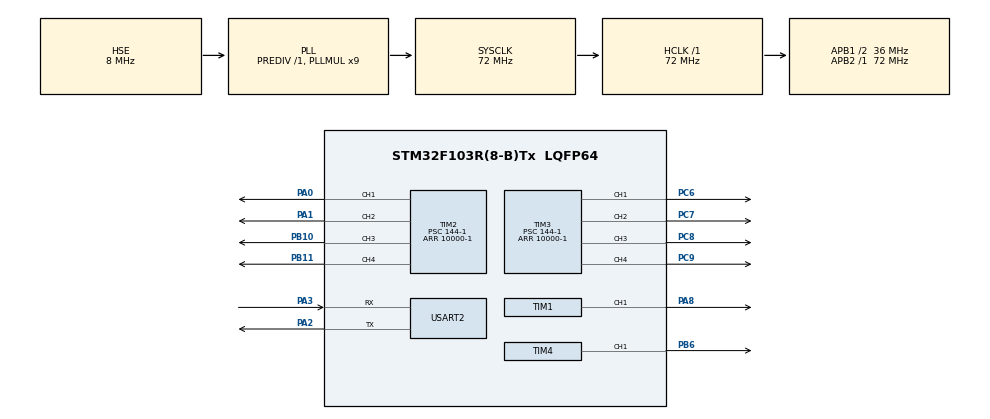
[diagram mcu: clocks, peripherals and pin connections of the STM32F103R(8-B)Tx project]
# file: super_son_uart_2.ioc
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Mcu.Family=STM32F1
Mcu.Name=STM32F103R(8-B)Tx
Mcu.Package=LQFP64
NVIC.PriorityGroup=NVIC_PRIORITYGROUP_4
NVIC.USART2_IRQn=true\:0\:0\:false\:false\:true\:true\:true\:true
PA0-WKUP.Signal=S_TIM2_CH1_ETR
PA1.Signal=S_TIM2_CH2
PA13.Mode=Serial_Wire
PA13.Signal=SYS_JTMS-SWDIO
PA14.Mode=Serial_Wire
PA14.Signal=SYS_JTCK-SWCLK
PA2.Mode=Asynchronous
PA2.Signal=USART2_TX
PA3.Mode=Asynchronous
PA3.Signal=USART2_RX
PA8.Signal=S_TIM1_CH1
PB10.Signal=S_TIM2_CH3
PB11.Signal=S_TIM2_CH4
PB6.Signal=S_TIM4_CH1
PC14-OSC32_IN.Mode=LSE-External-Oscillator
PC14-OSC32_IN.Signal=RCC_OSC32_IN
PC15-OSC32_OUT.Mode=LSE-External-Oscillator
PC15-OSC32_OUT.Signal=RCC_OSC32_OUT
PC6.Signal=S_TIM3_CH1
PC7.Signal=S_TIM3_CH2
PC8.Signal=S_TIM3_CH3
PC9.Signal=S_TIM3_CH4
PD0-OSC_IN.Mode=HSE-External-Clock-Source
PD0-OSC_IN.Signal=RCC_OSC_IN
PD1-OSC_OUT.Mode=HSE-External-Clock-Source
PD1-OSC_OUT.Signal=RCC_OSC_OUT
ProjectManager.HeapSize=0x200
ProjectManager.StackSize=0x400
ProjectManager.TargetToolchain=STM32CubeIDE
RCC.AHBFreq_Value=72000000
RCC.APB1CLKDivider=RCC_HCLK_DIV2
RCC.APB1Freq_Value=36000000
RCC.APB1TimFreq_Value=72000000
RCC.APB2Freq_Value=72000000
RCC.APB2TimFreq_Value=72000000
RCC.HCLKFreq_Value=72000000
RCC.PLLMUL=RCC_PLL_MUL9
RCC.PLLSourceVirtual=RCC_PLLSOURCE_HSE
RCC.SYSCLKFreq_VALUE=72000000
RCC.SYSCLKSource=RCC_SYSCLKSOURCE_PLLCLK
RCC.USBFreq_Value=72000000
SH.S_TIM1_CH1.0=TIM1_CH1,PWM Generation1 CH1
SH.S_TIM2_CH1_ETR.0=TIM2_CH1,PWM Generation1 CH1
SH.S_TIM2_CH2.0=TIM2_CH2,PWM Generation2 CH2
SH.S_TIM2_CH3.0=TIM2_CH3,PWM Generation3 CH3
SH.S_TIM2_CH4.0=TIM2_CH4,PWM Generation4 CH4
SH.S_TIM3_CH1.0=TIM3_CH1,PWM Generation1 CH1
SH.S_TIM3_CH2.0=TIM3_CH2,PWM Generation2 CH2
SH.S_TIM3_CH3.0=TIM3_CH3,PWM Generation3 CH3
SH.S_TIM3_CH4.0=TIM3_CH4,PWM Generation4 CH4
SH.S_TIM4_CH1.0=TIM4_CH1,PWM Generation1 CH1
TIM1.AutoReloadPreload=TIM_AUTORELOAD_PRELOAD_ENABLE
TIM1.Channel-PWM\ Generation1\ CH1=TIM_CHANNEL_1
TIM1.Period=10000-1
TIM1.Prescaler=144-1
TIM2.AutoReloadPreload=TIM_AUTORELOAD_PRELOAD_ENABLE
TIM2.Channel-PWM\ Generation1\ CH1=TIM_CHANNEL_1
TIM2.Channel-PWM\ Generation2\ CH2=TIM_CHANNEL_2
TIM2.Channel-PWM\ Generation3\ CH3=TIM_CHANNEL_3
TIM2.Channel-PWM\ Generation4\ CH4=TIM_CHANNEL_4
TIM2.Period=10000-1
TIM2.Prescaler=144-1
TIM3.AutoReloadPreload=TIM_AUTORELOAD_PRELOAD_ENABLE
TIM3.Channel-PWM\ Generation1\ CH1=TIM_CHANNEL_1
TIM3.Channel-PWM\ Generation2\ CH2=TIM_CHANNEL_2
TIM3.Channel-PWM\ Generation3\ CH3=TIM_CHANNEL_3
TIM3.Channel-PWM\ Generation4\ CH4=TIM_CHANNEL_4
TIM3.Period=10000-1
TIM3.Prescaler=144-1
TIM4.AutoReloadPreload=TIM_AUTORELOAD_PRELOAD_ENABLE
TIM4.Channel-PWM\ Generation1\ CH1=TIM_CHANNEL_1
TIM4.Period=10000-1
TIM4.Prescaler=144-1
USART2.VirtualMode=VM_ASYNC
VP_TIM1_VS_ClockSourceINT.Mode=Internal
VP_TIM2_VS_ClockSourceINT.Mode=Internal
VP_TIM3_VS_ClockSourceINT.Mode=Internal
VP_TIM4_VS_ClockSourceINT.Mode=Internal
board=custom

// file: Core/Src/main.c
/* USER CODE BEGIN Header */
/**
  ******************************************************************************
  * @file           : main.c
  * @brief          : Main program body
  ******************************************************************************
  * @attention
  *
  * Copyright (c) 2024 STMicroelectronics.
  * All rights reserved.
  *
  * This software is licensed under terms that can be found in the LICENSE file
  * in the root directory of this software component.
  * If no LICENSE file comes with this software, it is provided AS-IS.
  *
  ******************************************************************************
  */
/* USER CODE END Header */
#include "main.h"

/* USER CODE BEGIN Includes */
#include <stdlib.h>
#include <string.h>
/* USER CODE END Includes */

TIM_HandleTypeDef htim1;
TIM_HandleTypeDef htim2;
TIM_HandleTypeDef htim3;
TIM_HandleTypeDef htim4;

UART_HandleTypeDef huart2;

/* USER CODE BEGIN PV */
uint8_t RxBuffer[5];
char tim_info;
int angle;
uint32_t degree;

void servo_start(void){
	  HAL_TIM_PWM_Start(&htim1, TIM_CHANNEL_1);
	  HAL_TIM_PWM_Start(&htim2, TIM_CHANNEL_1);
	  HAL_TIM_PWM_Start(&htim2, TIM_CHANNEL_2);
	  HAL_TIM_PWM_Start(&htim2, TIM_CHANNEL_3);
	  HAL_TIM_PWM_Start(&htim2, TIM_CHANNEL_4);
	  HAL_TIM_PWM_Start(&htim3, TIM_CHANNEL_1);
	  HAL_TIM_PWM_Start(&htim3, TIM_CHANNEL_2);
	  HAL_TIM_PWM_Start(&htim3, TIM_CHANNEL_3);
	  HAL_TIM_PWM_Start(&htim3, TIM_CHANNEL_4);
	  HAL_TIM_PWM_Start(&htim4, TIM_CHANNEL_1);
}

void servo_stop(void){
	  HAL_TIM_PWM_Stop(&htim1, TIM_CHANNEL_1);
	  HAL_TIM_PWM_Stop(&htim2, TIM_CHANNEL_1);
	  HAL_TIM_PWM_Stop(&htim2, TIM_CHANNEL_2);
	  HAL_TIM_PWM_Stop(&htim2, TIM_CHANNEL_3);
	  HAL_TIM_PWM_Stop(&htim2, TIM_CHANNEL_4);
	  HAL_TIM_PWM_Stop(&htim3, TIM_CHANNEL_1);
	  HAL_TIM_PWM_Stop(&htim3, TIM_CHANNEL_2);
	  HAL_TIM_PWM_Stop(&htim3, TIM_CHANNEL_3);
	  HAL_TIM_PWM_Stop(&htim3, TIM_CHANNEL_4);
	  HAL_TIM_PWM_Stop(&htim4, TIM_CHANNEL_1);
}
/* USER CODE END PV */

void SystemClock_Config(void);
static void MX_GPIO_Init(void);
static void MX_USART2_UART_Init(void);
static void MX_TIM3_Init(void);
static void MX_TIM1_Init(void);
static void MX_TIM2_Init(void);
static void MX_TIM4_Init(void);

/* USER CODE BEGIN 0 */
// printf() ?��?�� ?��?��?���????? ?��?�� 코드
int __io_putchar(int ch) {
   HAL_UART_Transmit(&huart2, (uint8_t *)&ch, 1, 0xFFFF);  // 0xFFFF?�� 최�? ??�????? ?���?????
   if (ch == '\n') {
      HAL_UART_Transmit(&huart2, (uint8_t *)"\r", 1, 0xFFFF);
   }
   return ch;
}

/* USER CODE END 0 */

int main(void)
{

  /* MCU Configuration--------------------------------------------------------*/

  /* Reset of all peripherals, Initializes the Flash interface and the Systick. */
  HAL_Init();

  /* Configure the system clock */
  SystemClock_Config();

  /* Initialize all configured peripherals */
  MX_GPIO_Init();
  MX_USART2_UART_Init();
  MX_TIM3_Init();
  MX_TIM1_Init();
  MX_TIM2_Init();
  MX_TIM4_Init();
  /* USER CODE BEGIN 2 */
  servo_stop();
  __HAL_UART_FLUSH_DRREGISTER(&huart2);
  /* USER CODE END 2 */

  /* Infinite loop */
  /* USER CODE BEGIN WHILE */
  while (1)
  {

	  if (HAL_UART_Receive(&huart2, (uint8_t *)RxBuffer, sizeof(RxBuffer) - 1, HAL_MAX_DELAY) == HAL_OK)
	  {

		  //HAL_UART_Transmit(&huart2, (uint8_t *)RxBuffer, sizeof(RxBuffer) - 1, HAL_MAX_DELAY);
		  printf("%s\n",RxBuffer);

		  // ?��?��?�� 처리
		  tim_info = RxBuffer[0];
		  angle = atoi((char *)&RxBuffer[1]);

		  // angle 값이 ?��못된 경우 처리
		  if (angle == 0 && RxBuffer[1] != '0') {
			  //printf("Invalid angle value received.\n");
			  servo_stop();
		  }

		  if (tim_info >= 'C' && tim_info <= 'I'){
			  if(angle <=180 && angle >= 150){
				  degree = (angle * 1000) / 180 + 250;
			  }
			  else{
				  servo_stop();
				  //printf("nope!");
			  }
		  }
		  else if(tim_info == 'B'){
			  if(angle <= 90 && angle >= 80){
				  degree = (angle * 1000) / 180 + 250;
			  }
			  else{
				  servo_stop();
			  }
		  }
		  else if(tim_info == 'A'){
			  if(angle <= 120 && angle >= 60){
				  degree = (angle * 1000) / 180 + 250;
			  }
			  else{
				  servo_stop();
				  //printf("nope!");
			  }
		  }

		  // ?��?��?�� ?��?��?�� 출력
		  //printf("tim_info: %c, angle: %d\n", tim_info, degree);

		  servo_start();
		  HAL_Delay(100);

		  // PWM ?��?�� ?��?�� (?��?�� ?�� ?��?��)
		  if (tim_info == 'A')
		  {
			  __HAL_TIM_SET_COMPARE(&htim2, TIM_CHANNEL_1, degree);
		  }
		  else if (tim_info == 'B')
		  {
			  __HAL_TIM_SET_COMPARE(&htim2, TIM_CHANNEL_2, degree);
		  }
		  else if (tim_info == 'C')
		  {
			  __HAL_TIM_SET_COMPARE(&htim2, TIM_CHANNEL_3, degree);
		  }
		  else if (tim_info == 'D')
		  {
			  __HAL_TIM_SET_COMPARE(&htim2, TIM_CHANNEL_4, degree);
		  }
		  else if (tim_info == 'E')
		  {
			  __HAL_TIM_SET_COMPARE(&htim3, TIM_CHANNEL_1, degree);
		  }
		  else if (tim_info == 'F')
		  {
			  __HAL_TIM_SET_COMPARE(&htim3, TIM_CHANNEL_2, degree);
		  }
		  else if (tim_info == 'G')
		  {
			  __HAL_TIM_SET_COMPARE(&htim3, TIM_CHANNEL_3, degree);
		  }
		  else if (tim_info == 'H')
		  {
			  __HAL_TIM_SET_COMPARE(&htim3, TIM_CHANNEL_4, degree);
			  __HAL_TIM_SET_COMPARE(&htim4, TIM_CHANNEL_1, degree);
		  }
/*		  else if (tim_info == 'I')
		  {
			  __HAL_TIM_SET_COMPARE(&htim4, TIM_CHANNEL_1, degree);
		  }*/
		  else if (tim_info == 'J')
		  {
			  __HAL_TIM_SET_COMPARE(&htim1, TIM_CHANNEL_1, degree);
		  }

		  HAL_Delay(100);
		  servo_stop();
		  __HAL_UART_FLUSH_DRREGISTER(&huart2);
	  }

    /* USER CODE END WHILE */

  }
}

void SystemClock_Config(void)
{
  RCC_OscInitTypeDef RCC_OscInitStruct = {0};
  RCC_ClkInitTypeDef RCC_ClkInitStruct = {0};

  /** Initializes the RCC Oscillators according to the specified parameters
  * in the RCC_OscInitTypeDef structure.
  */
  RCC_OscInitStruct.OscillatorType = RCC_OSCILLATORTYPE_HSE;
  RCC_OscInitStruct.HSEState = RCC_HSE_BYPASS;
  RCC_OscInitStruct.HSEPredivValue = RCC_HSE_PREDIV_DIV1;
  RCC_OscInitStruct.HSIState = RCC_HSI_ON;
  RCC_OscInitStruct.PLL.PLLState = RCC_PLL_ON;
  RCC_OscInitStruct.PLL.PLLSource = RCC_PLLSOURCE_HSE;
  RCC_OscInitStruct.PLL.PLLMUL = RCC_PLL_MUL9;
  if (HAL_RCC_OscConfig(&RCC_OscInitStruct) != HAL_OK)
  {
    Error_Handler();
  }

  /** Initializes the CPU, AHB and APB buses clocks
  */
  RCC_ClkInitStruct.ClockType = RCC_CLOCKTYPE_HCLK|RCC_CLOCKTYPE_SYSCLK
                              |RCC_CLOCKTYPE_PCLK1|RCC_CLOCKTYPE_PCLK2;
  RCC_ClkInitStruct.SYSCLKSource = RCC_SYSCLKSOURCE_PLLCLK;
  RCC_ClkInitStruct.AHBCLKDivider = RCC_SYSCLK_DIV1;
  RCC_ClkInitStruct.APB1CLKDivider = RCC_HCLK_DIV2;
  RCC_ClkInitStruct.APB2CLKDivider = RCC_HCLK_DIV1;

  if (HAL_RCC_ClockConfig(&RCC_ClkInitStruct, FLASH_LATENCY_2) != HAL_OK)
  {
    Error_Handler();
  }
}

static void MX_TIM1_Init(void)
{

  TIM_ClockConfigTypeDef sClockSourceConfig = {0};
  TIM_MasterConfigTypeDef sMasterConfig = {0};
  TIM_OC_InitTypeDef sConfigOC = {0};
  TIM_BreakDeadTimeConfigTypeDef sBreakDeadTimeConfig = {0};

  htim1.Instance = TIM1;
  htim1.Init.Prescaler = 144-1;
  htim1.Init.CounterMode = TIM_COUNTERMODE_UP;
  htim1.Init.Period = 10000-1;
  htim1.Init.ClockDivision = TIM_CLOCKDIVISION_DIV1;
  htim1.Init.RepetitionCounter = 0;
  htim1.Init.AutoReloadPreload = TIM_AUTORELOAD_PRELOAD_ENABLE;
  if (HAL_TIM_Base_Init(&htim1) != HAL_OK)
  {
    Error_Handler();
  }
  sClockSourceConfig.ClockSource = TIM_CLOCKSOURCE_INTERNAL;
  if (HAL_TIM_ConfigClockSource(&htim1, &sClockSourceConfig) != HAL_OK)
  {
    Error_Handler();
  }
  if (HAL_TIM_PWM_Init(&htim1) != HAL_OK)
  {
    Error_Handler();
  }
  sMasterConfig.MasterOutputTrigger = TIM_TRGO_RESET;
  sMasterConfig.MasterSlaveMode = TIM_MASTERSLAVEMODE_DISABLE;
  if (HAL_TIMEx_MasterConfigSynchronization(&htim1, &sMasterConfig) != HAL_OK)
  {
    Error_Handler();
  }
  sConfigOC.OCMode = TIM_OCMODE_PWM1;
  sConfigOC.Pulse = 0;
  sConfigOC.OCPolarity = TIM_OCPOLARITY_HIGH;
  sConfigOC.OCNPolarity = TIM_OCNPOLARITY_HIGH;
  sConfigOC.OCFastMode = TIM_OCFAST_DISABLE;
  sConfigOC.OCIdleState = TIM_OCIDLESTATE_RESET;
  sConfigOC.OCNIdleState = TIM_OCNIDLESTATE_RESET;
  if (HAL_TIM_PWM_ConfigChannel(&htim1, &sConfigOC, TIM_CHANNEL_1) != HAL_OK)
  {
    Error_Handler();
  }
  sBreakDeadTimeConfig.OffStateRunMode = TIM_OSSR_DISABLE;
  sBreakDeadTimeConfig.OffStateIDLEMode = TIM_OSSI_DISABLE;
  sBreakDeadTimeConfig.LockLevel = TIM_LOCKLEVEL_OFF;
  sBreakDeadTimeConfig.DeadTime = 0;
  sBreakDeadTimeConfig.BreakState = TIM_BREAK_DISABLE;
  sBreakDeadTimeConfig.BreakPolarity = TIM_BREAKPOLARITY_HIGH;
  sBreakDeadTimeConfig.AutomaticOutput = TIM_AUTOMATICOUTPUT_DISABLE;
  if (HAL_TIMEx_ConfigBreakDeadTime(&htim1, &sBreakDeadTimeConfig) != HAL_OK)
  {
    Error_Handler();
  }
  HAL_TIM_MspPostInit(&htim1);

}

static void MX_TIM2_Init(void)
{

  TIM_ClockConfigTypeDef sClockSourceConfig = {0};
  TIM_MasterConfigTypeDef sMasterConfig = {0};
  TIM_OC_InitTypeDef sConfigOC = {0};

  htim2.Instance = TIM2;
  htim2.Init.Prescaler = 144-1;
  htim2.Init.CounterMode = TIM_COUNTERMODE_UP;
  htim2.Init.Period = 10000-1;
  htim2.Init.ClockDivision = TIM_CLOCKDIVISION_DIV1;
  htim2.Init.AutoReloadPreload = TIM_AUTORELOAD_PRELOAD_ENABLE;
  if (HAL_TIM_Base_Init(&htim2) != HAL_OK)
  {
    Error_Handler();
  }
  sClockSourceConfig.ClockSource = TIM_CLOCKSOURCE_INTERNAL;
  if (HAL_TIM_ConfigClockSource(&htim2, &sClockSourceConfig) != HAL_OK)
  {
    Error_Handler();
  }
  if (HAL_TIM_PWM_Init(&htim2) != HAL_OK)
  {
    Error_Handler();
  }
  sMasterConfig.MasterOutputTrigger = TIM_TRGO_RESET;
  sMasterConfig.MasterSlaveMode = TIM_MASTERSLAVEMODE_DISABLE;
  if (HAL_TIMEx_MasterConfigSynchronization(&htim2, &sMasterConfig) != HAL_OK)
  {
    Error_Handler();
  }
  sConfigOC.OCMode = TIM_OCMODE_PWM1;
  sConfigOC.Pulse = 0;
  sConfigOC.OCPolarity = TIM_OCPOLARITY_HIGH;
  sConfigOC.OCFastMode = TIM_OCFAST_DISABLE;
  if (HAL_TIM_PWM_ConfigChannel(&htim2, &sConfigOC, TIM_CHANNEL_1) != HAL_OK)
  {
    Error_Handler();
  }
  if (HAL_TIM_PWM_ConfigChannel(&htim2, &sConfigOC, TIM_CHANNEL_2) != HAL_OK)
  {
    Error_Handler();
  }
  if (HAL_TIM_PWM_ConfigChannel(&htim2, &sConfigOC, TIM_CHANNEL_3) != HAL_OK)
  {
    Error_Handler();
  }
  if (HAL_TIM_PWM_ConfigChannel(&htim2, &sConfigOC, TIM_CHANNEL_4) != HAL_OK)
  {
    Error_Handler();
  }
  HAL_TIM_MspPostInit(&htim2);

}

static void MX_TIM3_Init(void)
{

  TIM_ClockConfigTypeDef sClockSourceConfig = {0};
  TIM_MasterConfigTypeDef sMasterConfig = {0};
  TIM_OC_InitTypeDef sConfigOC = {0};

  htim3.Instance = TIM3;
  htim3.Init.Prescaler = 144-1;
  htim3.Init.CounterMode = TIM_COUNTERMODE_UP;
  htim3.Init.Period = 10000-1;
  htim3.Init.ClockDivision = TIM_CLOCKDIVISION_DIV1;
  htim3.Init.AutoReloadPreload = TIM_AUTORELOAD_PRELOAD_ENABLE;
  if (HAL_TIM_Base_Init(&htim3) != HAL_OK)
  {
    Error_Handler();
  }
  sClockSourceConfig.ClockSource = TIM_CLOCKSOURCE_INTERNAL;
  if (HAL_TIM_ConfigClockSource(&htim3, &sClockSourceConfig) != HAL_OK)
  {
    Error_Handler();
  }
  if (HAL_TIM_PWM_Init(&htim3) != HAL_OK)
  {
    Error_Handler();
  }
  sMasterConfig.MasterOutputTrigger = TIM_TRGO_RESET;
  sMasterConfig.MasterSlaveMode = TIM_MASTERSLAVEMODE_DISABLE;
  if (HAL_TIMEx_MasterConfigSynchronization(&htim3, &sMasterConfig) != HAL_OK)
  {
    Error_Handler();
  }
  sConfigOC.OCMode = TIM_OCMODE_PWM1;
  sConfigOC.Pulse = 0;
  sConfigOC.OCPolarity = TIM_OCPOLARITY_HIGH;
  sConfigOC.OCFastMode = TIM_OCFAST_DISABLE;
  if (HAL_TIM_PWM_ConfigChannel(&htim3, &sConfigOC, TIM_CHANNEL_1) != HAL_OK)
  {
    Error_Handler();
  }
  if (HAL_TIM_PWM_ConfigChannel(&htim3, &sConfigOC, TIM_CHANNEL_2) != HAL_OK)
  {
    Error_Handler();
  }
  if (HAL_TIM_PWM_ConfigChannel(&htim3, &sConfigOC, TIM_CHANNEL_3) != HAL_OK)
  {
    Error_Handler();
  }
  if (HAL_TIM_PWM_ConfigChannel(&htim3, &sConfigOC, TIM_CHANNEL_4) != HAL_OK)
  {
    Error_Handler();
  }
  HAL_TIM_MspPostInit(&htim3);

}

static void MX_TIM4_Init(void)
{

  TIM_ClockConfigTypeDef sClockSourceConfig = {0};
  TIM_MasterConfigTypeDef sMasterConfig = {0};
  TIM_OC_InitTypeDef sConfigOC = {0};

  htim4.Instance = TIM4;
  htim4.Init.Prescaler = 144-1;
  htim4.Init.CounterMode = TIM_COUNTERMODE_UP;
  htim4.Init.Period = 10000-1;
  htim4.Init.ClockDivision = TIM_CLOCKDIVISION_DIV1;
  htim4.Init.AutoReloadPreload = TIM_AUTORELOAD_PRELOAD_ENABLE;
  if (HAL_TIM_Base_Init(&htim4) != HAL_OK)
  {
    Error_Handler();
  }
  sClockSourceConfig.ClockSource = TIM_CLOCKSOURCE_INTERNAL;
  if (HAL_TIM_ConfigClockSource(&htim4, &sClockSourceConfig) != HAL_OK)
  {
    Error_Handler();
  }
  if (HAL_TIM_PWM_Init(&htim4) != HAL_OK)
  {
    Error_Handler();
  }
  sMasterConfig.MasterOutputTrigger = TIM_TRGO_RESET;
  sMasterConfig.MasterSlaveMode = TIM_MASTERSLAVEMODE_DISABLE;
  if (HAL_TIMEx_MasterConfigSynchronization(&htim4, &sMasterConfig) != HAL_OK)
  {
    Error_Handler();
  }
  sConfigOC.OCMode = TIM_OCMODE_PWM1;
  sConfigOC.Pulse = 0;
  sConfigOC.OCPolarity = TIM_OCPOLARITY_HIGH;
  sConfigOC.OCFastMode = TIM_OCFAST_DISABLE;
  if (HAL_TIM_PWM_ConfigChannel(&htim4, &sConfigOC, TIM_CHANNEL_1) != HAL_OK)
  {
    Error_Handler();
  }
  HAL_TIM_MspPostInit(&htim4);

}

static void MX_USART2_UART_Init(void)
{

  huart2.Instance = USART2;
  huart2.Init.BaudRate = 115200;
  huart2.Init.WordLength = UART_WORDLENGTH_8B;
  huart2.Init.StopBits = UART_STOPBITS_1;
  huart2.Init.Parity = UART_PARITY_NONE;
  huart2.Init.Mode = UART_MODE_TX_RX;
  huart2.Init.HwFlowCtl = UART_HWCONTROL_NONE;
  huart2.Init.OverSampling = UART_OVERSAMPLING_16;
  if (HAL_UART_Init(&huart2) != HAL_OK)
  {
    Error_Handler();
  }

}

static void MX_GPIO_Init(void)
{

  /* GPIO Ports Clock Enable */
  __HAL_RCC_GPIOC_CLK_ENABLE();
  __HAL_RCC_GPIOD_CLK_ENABLE();
  __HAL_RCC_GPIOA_CLK_ENABLE();
  __HAL_RCC_GPIOB_CLK_ENABLE();

}

void Error_Handler(void)
{
  __disable_irq();
  while (1)
  {
  }
}
